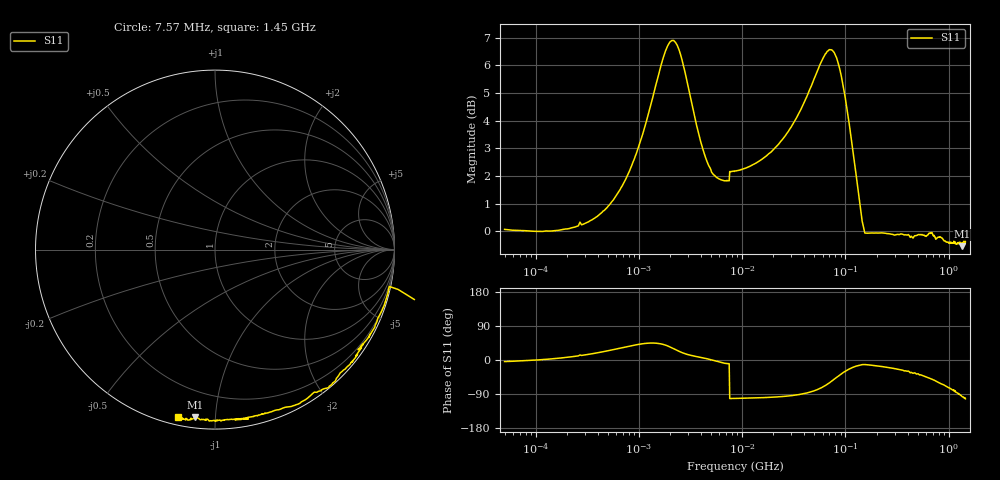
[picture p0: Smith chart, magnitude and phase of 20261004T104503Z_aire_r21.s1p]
! piloto_corto / aire / r21
# HZ S RI R 50
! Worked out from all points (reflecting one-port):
!   501 points, 50 kHz to 1.45 GHz, reference 50 ohm
!   lowest |S11| = -0.5 dB at 1.351 GHz (marker M1), VSWR 32.44, Z = 2.75 - j44.3 ohm
!   phase of S11 starts at -4 deg and turns -98 deg over the sweep
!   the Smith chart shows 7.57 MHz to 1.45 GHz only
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50000  1.006 -0.0712
183000  1.003 0.1022
363500  1.007 0.3113
658000  1.018 0.6181
1180000  1.137 1.098
1630000  1.467 1.347
1990000  1.809 1.249
2440000  1.961 0.8361
3430000  1.598 0.2906
4870000  1.303 0.0316
7300000  1.217 -0.2079
7750000  -0.2576 -1.257
8560000  -0.2524 -1.261
1.81e7  -0.2086 -1.366
3.16e7  -0.0883 -1.571
4.78e7  0.2315 -1.838
6.58e7  0.8891 -1.913
7.57e7  1.265 -1.698
8.83e7  1.516 -1.243
9.82e7  1.521 -0.9022
1e8  1.512 -0.848
1.18e8  1.32 -0.4641
1.36e8  1.11 -0.2779
1.63e8  0.9685 -0.2159
4.06e8  0.8608 -0.4823
7.03e8  0.6061 -0.7754
1.351e9  -0.1111 -0.9336
1.45e9  -0.2041 -0.9345
